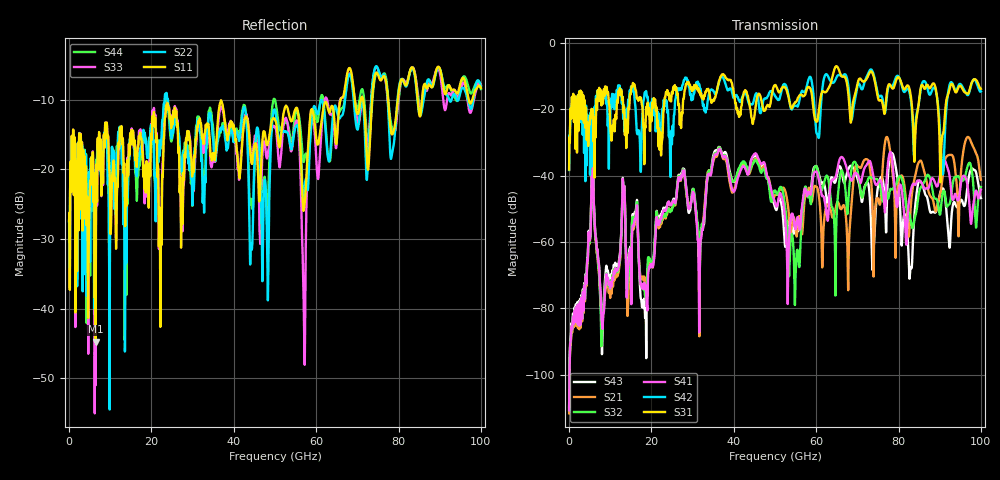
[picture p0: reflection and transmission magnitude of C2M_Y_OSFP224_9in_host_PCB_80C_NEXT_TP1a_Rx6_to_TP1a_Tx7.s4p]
# GHz S RI R 45
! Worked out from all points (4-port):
!   4000 points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, 25 MHz to 100 GHz, reference 45 ohm
!   strongest paths, dB at 25 MHz, 25.02 GHz, 50.02 GHz, 75.03 GHz, 100 GHz:
!     S31: -38.1, -14.8, -12.6, -16.6, -13.8
!     S42: -38.3, -28.8, -16.0, -15.6, -14.6
!     S41: -110.8, -48.3, -48.2, -42.1, -44.2
!     S32: -110.7, -50.0, -44.5, -41.4, -43.4
!     S21: -111.7, -49.8, -45.8, -46.9, -41.2
!     S43: -109.8, -48.1, -49.6, -43.2, -46.7
!   lowest |S11| = -44.7 dB at 6.475 GHz (marker M1), VSWR 1.01, Z = 45 - j0.522 ohm
!   |S11| at or under -10 dB: start of sweep to 65.94 GHz; 71.4 GHz to 73.58 GHz (2.18 GHz wide, 3.01 % of centre); 77.47 GHz to 79.82 GHz (2.352 GHz wide, 2.99 % of centre)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
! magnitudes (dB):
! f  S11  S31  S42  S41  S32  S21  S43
! 25 MHz  -27.3  -38.1  -38.3  -110.8  -110.7  -111.7  -109.8
! 6.475 GHz  -44.7  -28.4  -16.9  -58.5  -59.3  -59.5  -58.2
! 18.38 GHz  -22.7  -27.0  -14.9  -73.1  -75.0  -71.2  -79.1
! 36.33 GHz  -11.7  -11.9  -12.2  -32.0  -31.7  -32.3  -31.4
! 55.05 GHz  -11.2  -17.8  -18.9  -56.1  -68.5  -55.9  -55.4
! 59.88 GHz  -14.8  -23.2  -24.4  -38.8  -37.2  -43.2  -37.1
! 100 GHz  -8.3  -13.8  -14.6  -44.2  -43.4  -41.2  -46.7
